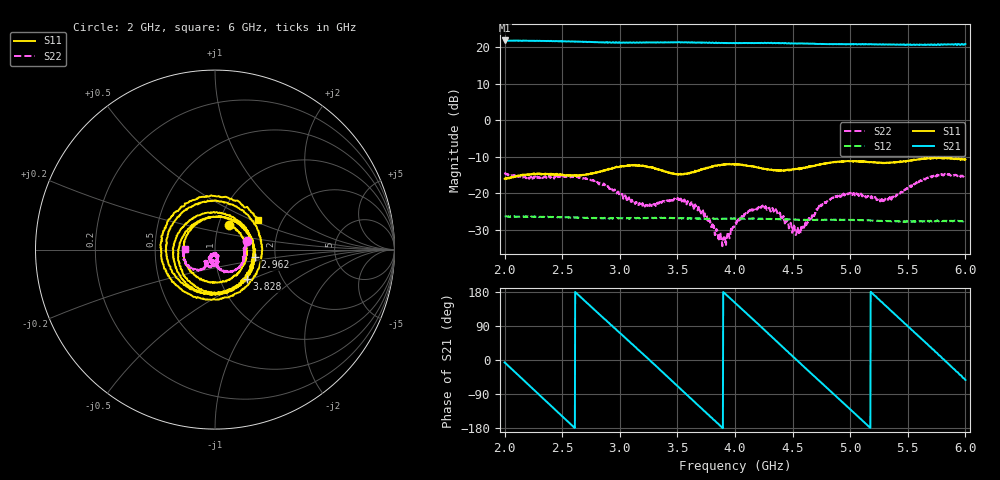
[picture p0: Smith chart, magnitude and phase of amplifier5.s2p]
#  HZ  S  DB  R  50.00
! Rohde & Schwarz ZVA24 4Ports - Version 3.60 - 1145.1110k28 SN: 101513
! Date: 2019-09-25 19:30:09
! Measurements: S33 S43 S34 S44
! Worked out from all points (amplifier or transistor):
!   1601 points, 2 GHz to 6 GHz, reference 50 ohm
!   highest |S21| = 21.8 dB at 2.005 GHz (marker M1)
!   |S21| within 3 dB of that: start of sweep to end of sweep
!   unconditionally stable (mu >= 1): start of sweep to end of sweep
!   at 2.665 GHz: K = 1.15, MAG = 21.7 dB, |S12| = -26.6 dB
!   at 4 GHz: K = 1.16, MAG = 21.5 dB, |S12| = -26.9 dB
!   at 6 GHz: K = 1.16, MAG = 21.8 dB, |S12| = -27.6 dB
!   S11 on the Smith chart (normalised r, x): 2 GHz: 1.12, +0.32; 2.962 GHz: 1.56, -0.13; 3.828 GHz: 1.33, -0.46; 6 GHz: 1.50, +0.55
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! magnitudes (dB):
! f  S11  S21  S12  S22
! 2 GHz  -16.0  21.8  -26.3  -14.7
! 2.005 GHz  -15.9  21.8  -26.3  -14.5
! 2.667 GHz  -15.0  21.4  -26.7  -15.7
! 2.962 GHz  -13.0  21.2  -26.8  -19.4
! 3.172 GHz  -12.4  21.3  -26.8  -22.9
! 3.335 GHz  -13.4  21.2  -26.7  -22.6
! 3.493 GHz  -14.8  21.3  -26.7  -21.4
! 3.61 GHz  -14.3  21.2  -26.7  -23.3
! 3.73 GHz  -13.2  21.2  -26.9  -26.8
! 3.828 GHz  -12.4  21.1  -27.0  -30.9
! 3.905 GHz  -12.0  21.0  -26.9  -32.3
! 4 GHz  -12.1  21.0  -26.9  -28.5
! 4.11 GHz  -12.5  21.1  -26.8  -25.2
! 4.225 GHz  -13.1  21.1  -27.0  -24.0
! 4.372 GHz  -13.7  21.1  -27.1  -25.7
! 4.543 GHz  -13.3  20.9  -27.2  -29.0
! 4.668 GHz  -12.6  20.9  -27.2  -26.1
! 4.747 GHz  -12.0  20.8  -27.2  -23.4
! 4.955 GHz  -11.2  20.8  -27.2  -20.3
! 5.335 GHz  -11.6  20.7  -27.6  -21.2
! 5.71 GHz  -10.4  20.6  -27.7  -15.4
! 6 GHz  -10.7  20.8  -27.6  -15.5
